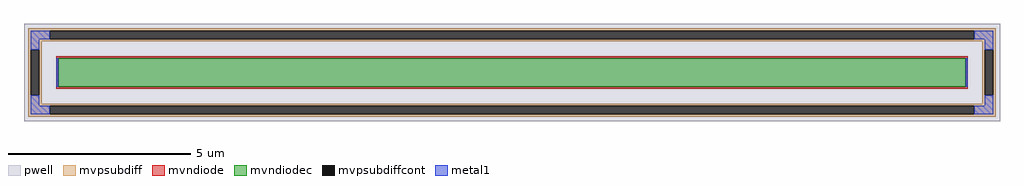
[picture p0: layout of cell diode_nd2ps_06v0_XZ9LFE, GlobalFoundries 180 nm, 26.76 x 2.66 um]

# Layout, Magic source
magic
tech gf180mcuD
magscale 1 10
<< pwell >>
rect -2676 -266 2676 266
<< mvpsubdiff >>
rect -2652 229 2652 242
rect -2652 183 -2536 229
rect 2536 183 2652 229
rect -2652 170 2652 183
rect -2652 126 -2580 170
rect -2652 -126 -2639 126
rect -2593 -126 -2580 126
rect 2580 126 2652 170
rect -2652 -170 -2580 -126
rect 2580 -126 2593 126
rect 2639 -126 2652 126
rect 2580 -170 2652 -126
rect -2652 -183 2652 -170
rect -2652 -229 -2536 -183
rect 2536 -229 2652 -183
rect -2652 -242 2652 -229
<< mvpsubdiffcont >>
rect -2536 183 2536 229
rect -2639 -126 -2593 126
rect 2593 -126 2639 126
rect -2536 -229 2536 -183
<< mvndiode >>
rect -2500 77 2500 90
rect -2500 -77 -2487 77
rect 2487 -77 2500 77
rect -2500 -90 2500 -77
<< mvndiodec >>
rect -2487 -77 2487 77
<< metal1 >>
rect -2639 183 -2536 229
rect 2536 183 2639 229
rect -2639 126 -2593 183
rect 2593 126 2639 183
rect -2498 -77 -2487 77
rect 2487 -77 2498 77
rect -2639 -183 -2593 -126
rect 2593 -183 2639 -126
rect -2639 -229 -2536 -183
rect 2536 -229 2639 -183
<< properties >>
string FIXED_BBOX -2616 -206 2616 206
string gencell diode_nd2ps_06v0
string library gf180mcu
string parameters w 25 l 0.9 area 22.5 peri 51.8 nx 1 ny 1 dummy 0 lmin 0.45 wmin 0.45 class diode elc 1 erc 1 etc 1 ebc 1 doverlap 0 full_metal 1 compatible {diode_nd2ps_03v3 diode_nd2ps_06v0}
<< end >>
